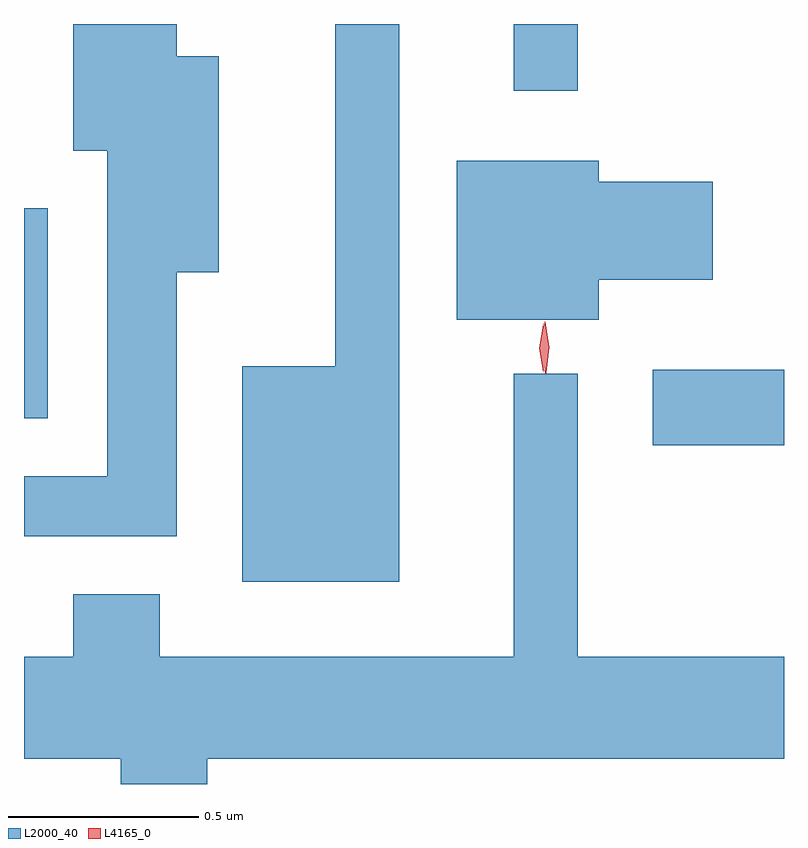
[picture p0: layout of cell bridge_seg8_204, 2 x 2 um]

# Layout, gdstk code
import gdstk
lib = gdstk.Library(unit=1e-6, precision=1e-09)
def R(c, l, rs):  # rectangles x0, y0, x1, y1
    for r in rs: c.add(gdstk.rectangle(r[:2], r[2:], *l))
def P(c, l, *ps):  # polygons
    for p in ps: c.add(gdstk.Polygon(p, *l))
L2000_40 = (2000, 40)
L4165_0 = (4165, 0)

bridge_seg8_204 = lib.new_cell('bridge_seg8_204')
R(bridge_seg8_204, L2000_40, [(1167.646,1906.061,1167.992,1906.259), (1165.992,1906.131,1166.054,1906.684), (1167.281,1906.993,1167.449,1907.169)])
P(bridge_seg8_204, L2000_40, [(1166.394,1906.516),(1166.504,1906.516),(1166.504,1907.084),(1166.394,1907.084),(1166.394,1907.169),(1166.121,1907.169),(1166.121,1906.836),(1166.211,1906.836),(1166.211,1905.979),(1165.992,1905.979),(1165.992,1905.821),(1166.394,1905.821)],
  [(1166.979,1907.169),(1166.811,1907.169),(1166.811,1906.269),(1166.566,1906.269),(1166.566,1905.701),(1166.979,1905.701)],
  [(1167.504,1906.496),(1167.804,1906.496),(1167.804,1906.754),(1167.504,1906.754),(1167.504,1906.809),(1167.131,1906.809),(1167.131,1906.391),(1167.504,1906.391)],
  [(1166.474,1905.236),(1167.992,1905.236),(1167.992,1905.504),(1167.449,1905.504),(1167.449,1906.248),(1167.281,1906.248),(1167.281,1905.504),(1166.349,1905.504),(1166.349,1905.669),(1166.121,1905.669),(1166.121,1905.504),(1165.992,1905.504),(1165.992,1905.236),(1166.246,1905.236),(1166.246,1905.169),(1166.474,1905.169)])
P(bridge_seg8_204, L4165_0, [(1167.364,1906.25),(1167.354,1906.318),(1167.363,1906.386),(1167.364,1906.386),(1167.364,1906.386),(1167.374,1906.318),(1167.366,1906.25),(1167.365,1906.25)],
  [(1167.358,1906.252),(1167.358,1906.253),(1167.348,1906.316),(1167.358,1906.379),(1167.358,1906.38),(1167.359,1906.379),(1167.368,1906.316),(1167.359,1906.253)])

lib.write_gds('bridge_seg8_204.gds')
